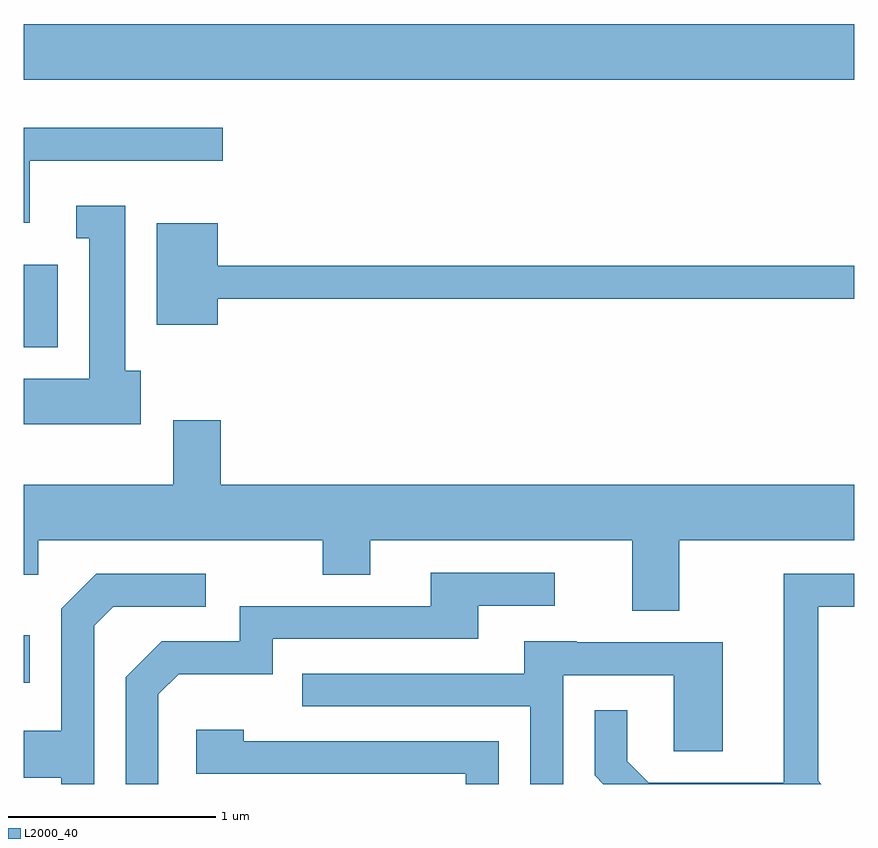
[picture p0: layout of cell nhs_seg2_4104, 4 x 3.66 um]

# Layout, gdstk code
import gdstk
lib = gdstk.Library(unit=1e-6, precision=1e-09)
def R(c, l, rs):  # rectangles x0, y0, x1, y1
    for r in rs: c.add(gdstk.rectangle(r[:2], r[2:], *l))
def P(c, l, *ps):  # polygons
    for p in ps: c.add(gdstk.Polygon(p, *l))
L2000_40 = (2000, 40)

nhs_seg2_4104 = lib.new_cell('nhs_seg2_4104')
R(nhs_seg2_4104, L2000_40, [(305.611,1054.291,305.639,1054.519), (305.611,1055.906,305.774,1056.304), (305.611,1057.196,309.611,1057.464)])
P(nhs_seg2_4104, L2000_40, [(305.639,1056.806),(306.568,1056.806),(306.568,1056.964),(305.611,1056.964),(305.611,1056.506),(305.639,1056.506)],
  [(306.174,1055.794),(306.099,1055.794),(306.099,1056.589),(305.863,1056.589),(305.863,1056.431),(305.926,1056.431),(305.926,1055.754),(305.611,1055.754),(305.611,1055.536),(306.174,1055.536)],
  [(306.544,1056.141),(309.611,1056.141),(309.611,1056.299),(306.544,1056.299),(306.544,1056.504),(306.251,1056.504),(306.251,1056.016),(306.544,1056.016)],
  [(308.769,1054.976),(309.611,1054.976),(309.611,1055.244),(306.559,1055.244),(306.559,1055.554),(306.331,1055.554),(306.331,1055.244),(305.611,1055.244),(305.611,1054.811),(305.679,1054.811),(305.679,1054.976),(307.051,1054.976),(307.051,1054.811),(307.279,1054.811),(307.279,1054.976),(308.541,1054.976),(308.541,1054.636),(308.769,1054.636)],
  [(306.259,1054.234),(306.357,1054.331),(306.809,1054.331),(306.809,1054.501),(307.799,1054.501),(307.799,1054.661),(308.168,1054.661),(308.168,1054.819),(307.571,1054.819),(307.571,1054.659),(306.651,1054.659),(306.651,1054.489),(306.274,1054.489),(306.101,1054.317),(306.101,1053.802),(306.259,1053.802)],
  [(305.949,1054.564),(306.042,1054.656),(306.488,1054.656),(306.488,1054.814),(305.959,1054.814),(305.791,1054.647),(305.791,1054.059),(305.611,1054.059),(305.611,1053.831),(305.791,1053.831),(305.791,1053.802),(305.949,1053.802)],
  [(309.439,1053.817),(309.439,1054.656),(309.611,1054.656),(309.611,1054.814),(309.271,1054.814),(309.271,1053.809),(308.622,1053.809),(308.519,1053.912),(308.519,1054.158),(308.361,1054.158),(308.361,1053.844),(308.403,1053.802),(309.454,1053.802)],
  [(308.209,1054.326),(308.741,1054.326),(308.741,1053.961),(308.979,1053.961),(308.979,1054.484),(308.275,1054.484),(308.275,1054.489),(308.021,1054.489),(308.021,1054.334),(306.953,1054.334),(306.953,1054.176),(308.051,1054.176),(308.051,1053.802),(308.209,1053.802)],
  [(307.899,1054.009),(306.669,1054.009),(306.669,1054.064),(306.441,1054.064),(306.441,1053.851),(307.741,1053.851),(307.741,1053.802),(307.899,1053.802)])

lib.write_gds('nhs_seg2_4104.gds')
